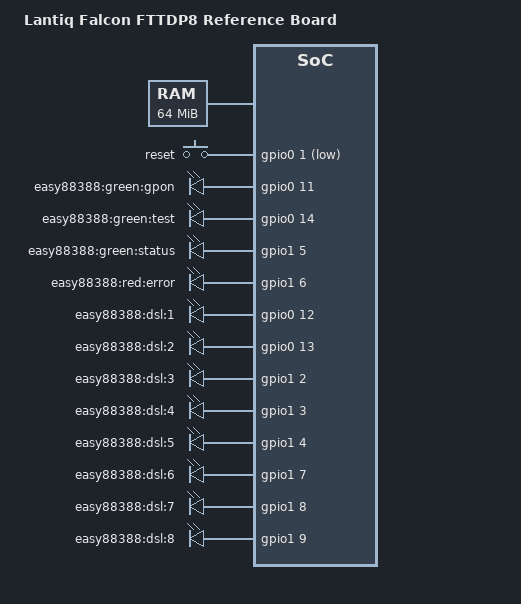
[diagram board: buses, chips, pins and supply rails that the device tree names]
/dts-v1/;

#include <dt-bindings/gpio/gpio.h>
#include "falcon.dtsi"
#include "falcon-sflash-16M.dtsi"

/ {
	model = "Lantiq Falcon FTTDP8 Reference Board";
	compatible = "lantiq,easy88388", "lantiq,falcon";

	aliases {
		spi0 = &ebu_cs0;
	};

	memory@0 {
		device_type = "memory";
		reg = <0x0 0x4000000>;  // 64M at 0x0
	};

	gpio-keys {
		compatible = "gpio-keys";
		reset {
			label = "reset";
			gpios = <&gpio0 1 GPIO_ACTIVE_LOW>;
			linux,code = <0x198>;
		};
	};

	pinctrl {
		led_pins: led-pins {
			lantiq,pins = "io34", "io35", "io36", "io37", "io38",
					"io39", "io40", "io41";
			lantiq,function = "gpio";
		};
	};

	easy88388-leds {
		compatible = "gpio-leds";
		pinctrl-names = "default";
		pinctrl-0 = <&led_pins &bootled_pins>;

		GPON {
			label = "easy88388:green:gpon";
			gpios = <&gpio0 11 GPIO_ACTIVE_HIGH>;
		};
		TEST {
			label = "easy88388:green:test";
			gpios = <&gpio0 14 GPIO_ACTIVE_HIGH>;
		};
		STATUS {
			label = "easy88388:green:status";
			gpios = <&gpio1 5 GPIO_ACTIVE_HIGH>;
		};
		ERROR {
			label = "easy88388:red:error";
			gpios = <&gpio1 6 GPIO_ACTIVE_HIGH>;
		};

		DSL1 {
			label = "easy88388:dsl:1";
			gpios = <&gpio0 12 GPIO_ACTIVE_HIGH>;
		};
		DSL2 {
			label = "easy88388:dsl:2";
			gpios = <&gpio0 13 GPIO_ACTIVE_HIGH>;
		};
		DSL3 {
			label = "easy88388:dsl:3";
			gpios = <&gpio1 2 GPIO_ACTIVE_HIGH>;
		};
		DSL4 {
			label = "easy88388:dsl:4";
			gpios = <&gpio1 3 GPIO_ACTIVE_HIGH>;
		};
		DSL5 {
			label = "easy88388:dsl:5";
			gpios = <&gpio1 4 GPIO_ACTIVE_HIGH>;
		};
		DSL6 {
			label = "easy88388:dsl:6";
			gpios = <&gpio1 7 GPIO_ACTIVE_HIGH>;
		};
		DSL7 {
			label = "easy88388:dsl:7";
			gpios = <&gpio1 8 GPIO_ACTIVE_HIGH>;
		};
		DSL8 {
			label = "easy88388:dsl:8";
			gpios = <&gpio1 9 GPIO_ACTIVE_HIGH>;
		};
	};
};

